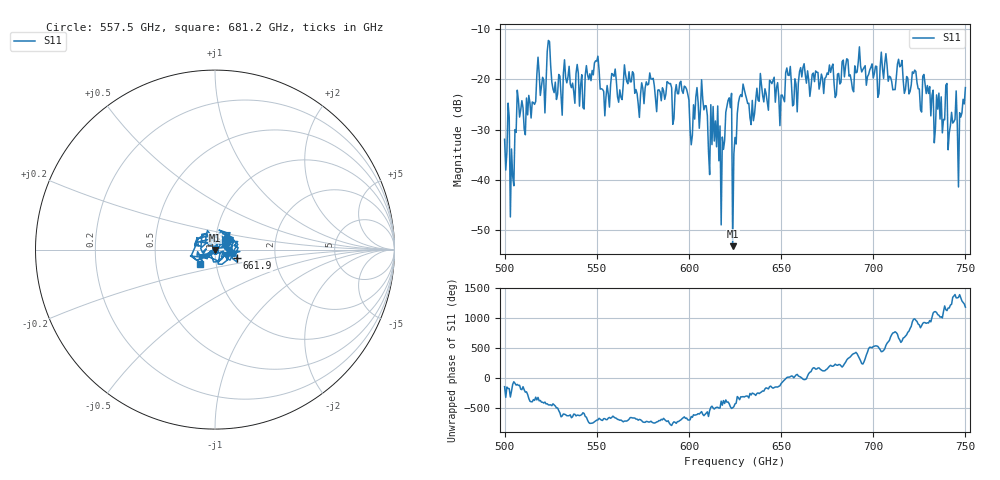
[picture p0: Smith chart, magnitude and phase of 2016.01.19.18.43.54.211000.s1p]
!Created with skrf (http://scikit-rf.org).
# GHz S RI R 50.0
!freq ReS11 ImS11
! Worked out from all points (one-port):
!   401 points, 500 GHz to 750 GHz, reference 50 ohm
!   lowest |S11| = -53.2 dB at 623.8 GHz (marker M1), VSWR 1.00, Z = 49.8 - j0.138 ohm
!   |S11| at or under -10 dB: start of sweep to end of sweep
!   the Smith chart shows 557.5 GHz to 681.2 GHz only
!   S11 on the Smith chart (normalised r, x): 557.5 GHz: 1.13, +0.13; 661.9 GHz: 1.27, -0.12; 681.2 GHz: 0.84, -0.13
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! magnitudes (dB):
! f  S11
! 500 GHz  -31.9
! 504.4 GHz  -39.2
! 508.1 GHz  -27.5
! 515.6 GHz  -24.6
! 523.8 GHz  -12.3
! 531.2 GHz  -27.1
! 541.9 GHz  -19.1
! 550 GHz  -16.4
! 553.1 GHz  -22.0
! 557.5 GHz  -21.1
! 562.5 GHz  -22.1
! 593.8 GHz  -22.9
! 601.9 GHz  -31.1
! 608.1 GHz  -26.1
! 617.5 GHz  -48.9
! 621.9 GHz  -23.7
! 623.8 GHz  -53.2
! 625 GHz  -31.6
! 628.8 GHz  -23.5
! 634.4 GHz  -24.2
! 645 GHz  -20.9
! 656.2 GHz  -25.3
! 661.9 GHz  -17.7
! 681.2 GHz  -18.9
! 687.5 GHz  -19.1
! 718.8 GHz  -19.8
! 746.9 GHz  -26.7
! 750 GHz  -21.7
